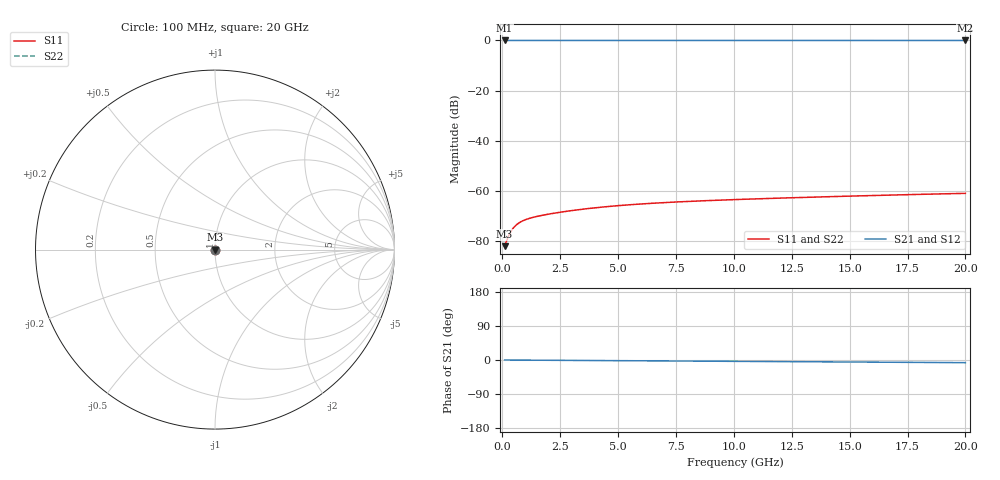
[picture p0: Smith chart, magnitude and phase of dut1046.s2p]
! Touchstone file exported from HFSS 2026.1.0
!  File:  C:/ffzhzh/LocalFiles/Ansys_Project_Files/temp_train_TSV_1046_1783189359_55132.aedt
!  Generated:  02:24:04 AM Jul  5, 2026
!  Design:  TSV
!  Project:  temp_train_TSV_1046_1783189359_55132
! Variables:
!  h_bsmrdl = 2um
!  h_ox = 20um
!  h_rdl = 5um
!  h_sub = 66.93um
!  h_tmrdl = 5um
!  h_tsv = 66.93um
!  h_via = 3um
!  l_bsmrdl = 300um
!  l_sub = 427.18um
!  l_tmrdl = 200um
!  m_sub = 200um
!  pitch = 53.83um
!  r_tsv = 13.59um
!  s_tmrdl = 10um
!  w_bsmrdl = 18um
!  w_sub = 500um
!  w_tmrdl = 12um
!  x_tsv_center1 = 206um
!  x_tsv_center2 = 524um
!  x_tsv_center3 = 736um
!  x_tsv_center4 = 1054um
!  x_tsv_center5 = 1266um
!  x_tsv_center6 = 1584um
# GHz S MA R 50.000000
! Terminal data exported
! Port[1] = TSV1_1_T1
! Port[2] = TSV1_1_T2
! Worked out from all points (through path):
!   200 points, 100 MHz to 20 GHz, reference 50 ohm
!   highest |S21| = 0.00 dB at 100 MHz (marker M1); lowest = 0.0 dB at 20 GHz (marker M2)
!   lowest |S11| = -82.0 dB at 100 MHz (marker M3), VSWR 1.00, Z = 50 + j0.0035 ohm
!   |S11| at or under -10 dB: start of sweep to end of sweep
!   |S22| runs from -82.0 to -60.9 dB; largest |S21 - S12| = 6.2e-15
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0.1  7.97e-05 26.0  0.9999 -0.0  0.9999 -0.0  7.97e-05 26.0
! Gamma 0 0 0 0
! Port Impedance 50 0 50 0
0.2  0.0001066 38.8  0.9999 -0.1  0.9999 -0.1  0.0001066 38.8
0.3  0.0001365 43.2  0.9999 -0.1  0.9999 -0.1  0.0001365 43.2
0.4  0.0001645 44.0  0.9999 -0.1  0.9999 -0.1  0.0001645 44.0
0.5  0.0001892 43.3  0.9999 -0.2  0.9999 -0.2  0.0001892 43.3
0.6  0.0002103 42.0  0.9998 -0.2  0.9998 -0.2  0.0002104 42.1
0.7  0.0002283 40.7  0.9998 -0.3  0.9998 -0.3  0.0002284 40.7
0.8  0.0002436 39.5  0.9998 -0.3  0.9998 -0.3  0.0002437 39.5
1  0.0002684 37.4  0.9998 -0.4  0.9998 -0.4  0.0002686 37.4
1.2  0.0002881 35.9  0.9998 -0.4  0.9998 -0.4  0.0002883 35.9
1.4  0.0003047 34.9  0.9997 -0.5  0.9997 -0.5  0.0003049 34.9
1.9  0.0003402 33.5  0.9997 -0.7  0.9997 -0.7  0.0003403 33.5
2.7  0.0003902 32.4  0.9997 -1.0  0.9997 -1.0  0.0003903 32.3
3.5  0.0004363 31.1  0.9996 -1.2  0.9996 -1.2  0.0004364 31.1
4.2  0.0004732 29.7  0.9996 -1.5  0.9996 -1.5  0.0004733 29.7
5  0.0005112 27.9  0.9996 -1.8  0.9996 -1.8  0.0005112 27.9
6.8  0.0005817 23.6  0.9995 -2.4  0.9995 -2.4  0.0005818 23.6
8.3  0.0006287 20.2  0.9994 -2.9  0.9994 -2.9  0.000629 20.2
10.1  0.000677 16.4  0.9994 -3.6  0.9994 -3.6  0.0006774 16.4
13.4  0.0007555 9.9  0.9993 -4.7  0.9993 -4.7  0.000756 9.9
16.7  0.0008299 3.0  0.9992 -5.9  0.9992 -5.9  0.0008306 3.0
20  0.0008989 -4.9  0.9991 -7.0  0.9991 -7.0  0.0009003 -4.9
